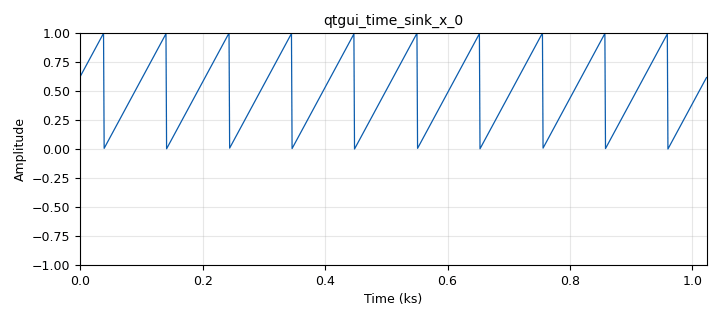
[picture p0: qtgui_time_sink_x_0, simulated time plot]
options:
  parameters:
    generate_options: qt_gui
    generator_class_name: PythonQtGuiGenerator
    generator_module: gnuradio.grc.workflows.python_qt_gui
    id: demo
    output_language: python
    title: Not titled yet
  states: {}

blocks:
- name: N
  id: variable
  parameters:
    value: '1024'
  states: {}
- name: P
  id: variable_qtgui_range
  parameters:
    start: '1'
    step: '1'
    stop: '30'
    value: '10'
  states: {}
- name: samp_rate
  id: variable
  parameters:
    value: '100000'
  states: {}
- name: analog_sig_source_x_0
  id: analog_sig_source_x
  parameters:
    amp: '1'
    freq: samp_rate/N*P
    offset: '0'
    phase: '0'
    samp_rate: samp_rate
    type: float
    waveform: analog.GR_SAW_WAVE
  states: {}
- name: blocks_float_to_int_0
  id: blocks_float_to_int
  parameters:
    scale: N
    vlen: N
  states: {}
- name: blocks_stream_to_vector_0
  id: blocks_stream_to_vector
  parameters:
    num_items: N
    type: float
  states: {}
- name: blocks_throttle2_0
  id: blocks_throttle2
  parameters:
    samples_per_second: samp_rate
    type: float
  states: {}
- name: qtgui_time_sink_x_0
  id: qtgui_time_sink_x
  parameters:
    size: '1024'
    srate: '1'
    type: float
  states: {}
- name: zeromq_pub_sink_0
  id: zeromq_pub_sink
  parameters:
    address: tcp://127.0.0.1:5556
    timeout: '100'
    type: int
    vlen: N
  states: {}

connections:
- [analog_sig_source_x_0, '0', blocks_throttle2_0, '0']
- [blocks_float_to_int_0, '0', zeromq_pub_sink_0, '0']
- [blocks_stream_to_vector_0, '0', blocks_float_to_int_0, '0']
- [blocks_throttle2_0, '0', blocks_stream_to_vector_0, '0']
- [blocks_throttle2_0, '0', qtgui_time_sink_x_0, '0']

metadata:
  file_format: 1
  grc_version: 3.10.12.0
